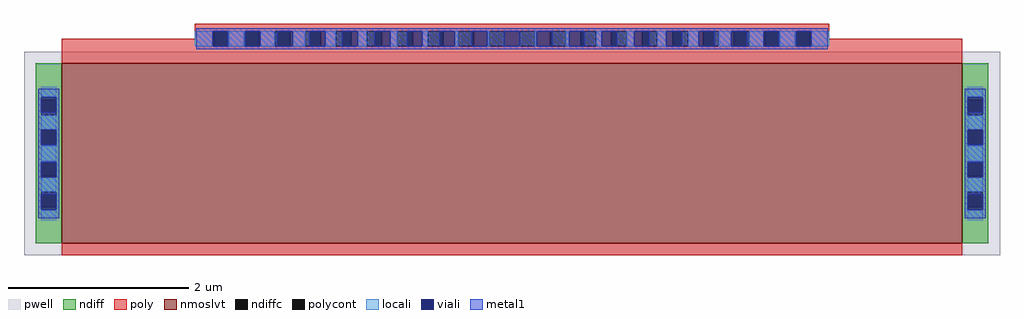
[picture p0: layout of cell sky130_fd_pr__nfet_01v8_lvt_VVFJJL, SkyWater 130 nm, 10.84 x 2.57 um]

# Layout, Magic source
magic
tech sky130A
magscale 1 2
<< pwell >>
rect -1084 -257 1084 195
<< nmoslvt >>
rect -1000 -231 1000 169
<< ndiff >>
rect -1058 88 -1000 169
rect -1058 54 -1046 88
rect -1012 54 -1000 88
rect -1058 20 -1000 54
rect -1058 -14 -1046 20
rect -1012 -14 -1000 20
rect -1058 -48 -1000 -14
rect -1058 -82 -1046 -48
rect -1012 -82 -1000 -48
rect -1058 -116 -1000 -82
rect -1058 -150 -1046 -116
rect -1012 -150 -1000 -116
rect -1058 -231 -1000 -150
rect 1000 88 1058 169
rect 1000 54 1012 88
rect 1046 54 1058 88
rect 1000 20 1058 54
rect 1000 -14 1012 20
rect 1046 -14 1058 20
rect 1000 -48 1058 -14
rect 1000 -82 1012 -48
rect 1046 -82 1058 -48
rect 1000 -116 1058 -82
rect 1000 -150 1012 -116
rect 1046 -150 1058 -116
rect 1000 -231 1058 -150
<< ndiffc >>
rect -1046 54 -1012 88
rect -1046 -14 -1012 20
rect -1046 -82 -1012 -48
rect -1046 -150 -1012 -116
rect 1012 54 1046 88
rect 1012 -14 1046 20
rect 1012 -82 1046 -48
rect 1012 -150 1046 -116
<< poly >>
rect -705 241 705 257
rect -705 224 -663 241
rect -1000 207 -663 224
rect -629 207 -595 241
rect -561 207 -527 241
rect -493 207 -459 241
rect -425 207 -391 241
rect -357 207 -323 241
rect -289 207 -255 241
rect -221 207 -187 241
rect -153 207 -119 241
rect -85 207 -51 241
rect -17 207 17 241
rect 51 207 85 241
rect 119 207 153 241
rect 187 207 221 241
rect 255 207 289 241
rect 323 207 357 241
rect 391 207 425 241
rect 459 207 493 241
rect 527 207 561 241
rect 595 207 629 241
rect 663 224 705 241
rect 663 207 1000 224
rect -1000 169 1000 207
rect -1000 -257 1000 -231
<< polycont >>
rect -663 207 -629 241
rect -595 207 -561 241
rect -527 207 -493 241
rect -459 207 -425 241
rect -391 207 -357 241
rect -323 207 -289 241
rect -255 207 -221 241
rect -187 207 -153 241
rect -119 207 -85 241
rect -51 207 -17 241
rect 17 207 51 241
rect 85 207 119 241
rect 153 207 187 241
rect 221 207 255 241
rect 289 207 323 241
rect 357 207 391 241
rect 425 207 459 241
rect 493 207 527 241
rect 561 207 595 241
rect 629 207 663 241
<< locali >>
rect -705 207 -665 241
rect -629 207 -595 241
rect -559 207 -527 241
rect -487 207 -459 241
rect -415 207 -391 241
rect -343 207 -323 241
rect -271 207 -255 241
rect -199 207 -187 241
rect -127 207 -119 241
rect -55 207 -51 241
rect 51 207 55 241
rect 119 207 127 241
rect 187 207 199 241
rect 255 207 271 241
rect 323 207 343 241
rect 391 207 415 241
rect 459 207 487 241
rect 527 207 559 241
rect 595 207 629 241
rect 665 207 705 241
rect -1046 94 -1012 117
rect -1046 22 -1012 54
rect -1046 -48 -1012 -14
rect -1046 -116 -1012 -84
rect -1046 -179 -1012 -156
rect 1012 94 1046 117
rect 1012 22 1046 54
rect 1012 -48 1046 -14
rect 1012 -116 1046 -84
rect 1012 -179 1046 -156
<< viali >>
rect -665 207 -663 241
rect -663 207 -631 241
rect -593 207 -561 241
rect -561 207 -559 241
rect -521 207 -493 241
rect -493 207 -487 241
rect -449 207 -425 241
rect -425 207 -415 241
rect -377 207 -357 241
rect -357 207 -343 241
rect -305 207 -289 241
rect -289 207 -271 241
rect -233 207 -221 241
rect -221 207 -199 241
rect -161 207 -153 241
rect -153 207 -127 241
rect -89 207 -85 241
rect -85 207 -55 241
rect -17 207 17 241
rect 55 207 85 241
rect 85 207 89 241
rect 127 207 153 241
rect 153 207 161 241
rect 199 207 221 241
rect 221 207 233 241
rect 271 207 289 241
rect 289 207 305 241
rect 343 207 357 241
rect 357 207 377 241
rect 415 207 425 241
rect 425 207 449 241
rect 487 207 493 241
rect 493 207 521 241
rect 559 207 561 241
rect 561 207 593 241
rect 631 207 663 241
rect 663 207 665 241
rect -1046 88 -1012 94
rect -1046 60 -1012 88
rect -1046 20 -1012 22
rect -1046 -12 -1012 20
rect -1046 -82 -1012 -50
rect -1046 -84 -1012 -82
rect -1046 -150 -1012 -122
rect -1046 -156 -1012 -150
rect 1012 88 1046 94
rect 1012 60 1046 88
rect 1012 20 1046 22
rect 1012 -12 1046 20
rect 1012 -82 1046 -50
rect 1012 -84 1046 -82
rect 1012 -150 1046 -122
rect 1012 -156 1046 -150
<< metal1 >>
rect -701 241 701 247
rect -701 207 -665 241
rect -631 207 -593 241
rect -559 207 -521 241
rect -487 207 -449 241
rect -415 207 -377 241
rect -343 207 -305 241
rect -271 207 -233 241
rect -199 207 -161 241
rect -127 207 -89 241
rect -55 207 -17 241
rect 17 207 55 241
rect 89 207 127 241
rect 161 207 199 241
rect 233 207 271 241
rect 305 207 343 241
rect 377 207 415 241
rect 449 207 487 241
rect 521 207 559 241
rect 593 207 631 241
rect 665 207 701 241
rect -701 201 701 207
rect -1052 94 -1006 113
rect -1052 60 -1046 94
rect -1012 60 -1006 94
rect -1052 22 -1006 60
rect -1052 -12 -1046 22
rect -1012 -12 -1006 22
rect -1052 -50 -1006 -12
rect -1052 -84 -1046 -50
rect -1012 -84 -1006 -50
rect -1052 -122 -1006 -84
rect -1052 -156 -1046 -122
rect -1012 -156 -1006 -122
rect -1052 -175 -1006 -156
rect 1006 94 1052 113
rect 1006 60 1012 94
rect 1046 60 1052 94
rect 1006 22 1052 60
rect 1006 -12 1012 22
rect 1046 -12 1052 22
rect 1006 -50 1052 -12
rect 1006 -84 1012 -50
rect 1046 -84 1052 -50
rect 1006 -122 1052 -84
rect 1006 -156 1012 -122
rect 1046 -156 1052 -122
rect 1006 -175 1052 -156
<< end >>
